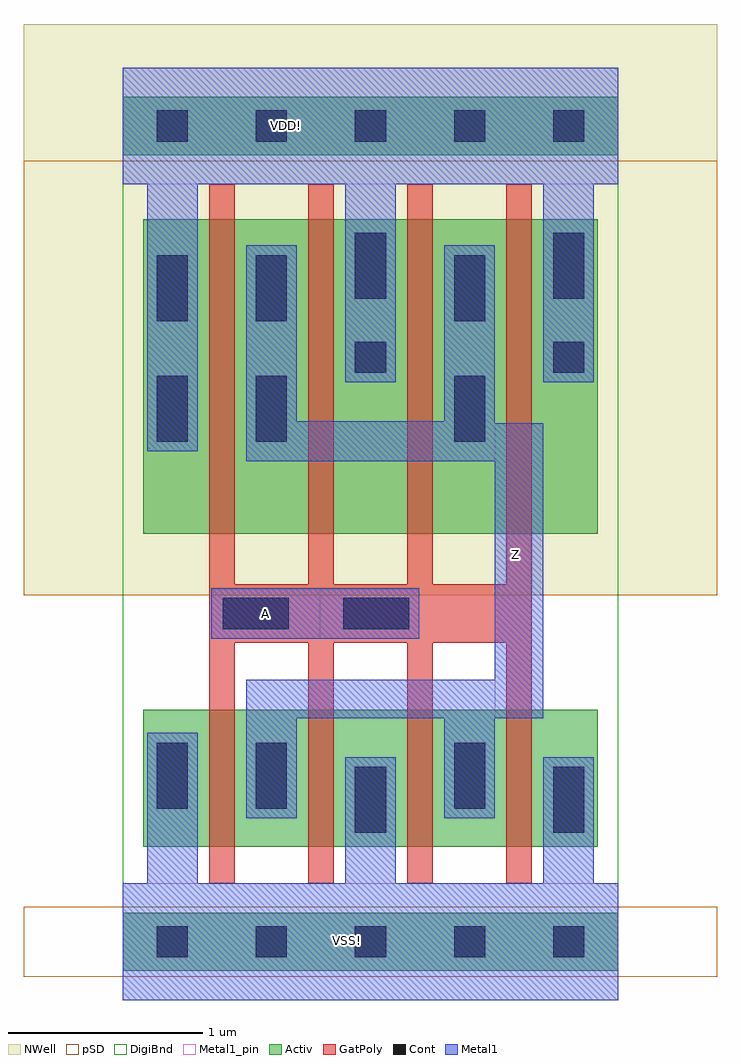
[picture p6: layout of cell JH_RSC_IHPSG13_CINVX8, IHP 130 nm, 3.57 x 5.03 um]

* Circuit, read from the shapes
.subckt JH_RSC_IHPSG13_CINVX8 A VDD! VSS! Z
XM1 Z A VSS! VSS! sg13_lv_nmos w=0.705u l=0.13u m=4
XM2 Z A VDD! VDD! sg13_lv_pmos w=1.62u l=0.13u m=4
.ends

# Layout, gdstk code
import gdstk
lib = gdstk.Library(unit=1e-6, precision=1e-09)
def R(c, l, rs):  # rectangles x0, y0, x1, y1
    for r in rs: c.add(gdstk.rectangle(r[:2], r[2:], *l))
def A(c, l, x, y, w, h, nx, ny, dx, dy):  # array of equal rectangles
    R(c, l, [(x+i*dx, y+j*dy, x+i*dx+w, y+j*dy+h) for i in range(nx) for j in range(ny)])
def P(c, l, *ps):  # polygons
    for p in ps: c.add(gdstk.Polygon(p, *l))
Activ = (1, 0)
GatPoly = (5, 0)
Cont = (6, 0)
Metal1 = (8, 0)
Metal1_pin = (8, 2)
pSD = (14, 0)
DigiBnd = (16, 0)
NWell = (31, 0)

jh_rsc_ihpsg13_cinvx8 = lib.new_cell('JH_RSC_IHPSG13_CINVX8')
R(jh_rsc_ihpsg13_cinvx8, Activ, [(0,-0.15,2.55,0.15), (0.105,0.49,2.445,1.195), (0.105,2.1,2.445,3.72), (0,4.05,2.55,4.35)])
P(jh_rsc_ihpsg13_cinvx8, GatPoly, [(0.445,0.3),(0.445,3.9),(0.575,3.9),(0.575,1.84),(0.955,1.84),(0.955,3.9),(1.085,3.9),(1.085,1.84),(1.465,1.84),(1.465,3.9),(1.595,3.9),(1.595,1.84),(1.975,1.84),(1.975,3.9),(2.105,3.9),(2.105,0.3),(1.975,0.3),(1.975,1.54),(1.595,1.54),(1.595,0.3),(1.465,0.3),(1.465,1.54),(1.085,1.54),(1.085,0.3),(0.955,0.3),(0.955,1.54),(0.575,1.54),(0.575,0.3)])
A(jh_rsc_ihpsg13_cinvx8, Cont, 0.175, -0.08, 0.16, 0.16, 5, 2, 0.51, 4.2)
R(jh_rsc_ihpsg13_cinvx8, Cont, [(1.195,0.56,1.355,0.9), (2.215,0.56,2.375,0.9), (0.175,0.685,0.335,1.025), (0.685,0.685,0.845,1.025), (1.705,0.685,1.865,1.025), (0.515,1.61,0.855,1.77), (1.135,1.61,1.475,1.77), (0.175,2.575,0.335,2.915), (0.685,2.575,0.845,2.915), (1.705,2.575,1.865,2.915), (1.195,2.93,1.355,3.09), (2.215,2.93,2.375,3.09), (0.175,3.195,0.335,3.535), (0.685,3.195,0.845,3.535), (1.705,3.195,1.865,3.535), (1.195,3.31,1.355,3.65), (2.215,3.31,2.375,3.65)])
R(jh_rsc_ihpsg13_cinvx8, Metal1, [(0.455,1.56,1.525,1.82)])
P(jh_rsc_ihpsg13_cinvx8, Metal1, [(0.635,0.635),(0.635,1.35),(1.915,1.35),(1.915,2.475),(0.635,2.475),(0.635,3.585),(0.895,3.585),(0.895,2.68),(1.655,2.68),(1.655,3.585),(1.915,3.585),(1.915,2.67),(2.165,2.67),(2.165,1.15),(1.915,1.15),(1.915,0.635),(1.655,0.635),(1.655,1.15),(0.895,1.15),(0.895,0.635)],
  [(0.125,2.525),(0.125,3.9),(0,3.9),(0,4.5),(2.55,4.5),(2.55,3.9),(2.425,3.9),(2.425,2.88),(2.165,2.88),(2.165,3.9),(1.405,3.9),(1.405,2.88),(1.145,2.88),(1.145,3.9),(0.385,3.9),(0.385,2.525)],
  [(0,-0.3),(0,0.3),(0.125,0.3),(0.125,1.075),(0.385,1.075),(0.385,0.3),(1.145,0.3),(1.145,0.95),(1.405,0.95),(1.405,0.3),(2.165,0.3),(2.165,0.95),(2.425,0.95),(2.425,0.3),(2.55,0.3),(2.55,-0.3)])
R(jh_rsc_ihpsg13_cinvx8, Metal1_pin, [(0,-0.3,2.55,0.3), (1.915,1.15,2.165,2.67), (0.455,1.56,1.015,1.82), (0,3.9,2.55,4.5)])
R(jh_rsc_ihpsg13_cinvx8, pSD, [(-0.51,-0.18,3.06,0.18), (-0.51,1.785,3.06,4.02)])
R(jh_rsc_ihpsg13_cinvx8, DigiBnd, [(0,-0.3,2.55,4.5)])
R(jh_rsc_ihpsg13_cinvx8, NWell, [(-0.51,1.785,3.06,4.725)])
jh_rsc_ihpsg13_cinvx8.add(gdstk.Label('VSS!', (1.155,0.005), layer=8, texttype=2))
jh_rsc_ihpsg13_cinvx8.add(gdstk.Label('VDD!', (0.84,4.2), layer=8, texttype=2))
jh_rsc_ihpsg13_cinvx8.add(gdstk.Label('A', (0.735,1.69), layer=8, texttype=2))
jh_rsc_ihpsg13_cinvx8.add(gdstk.Label('Z', (2.02,1.995), layer=8, texttype=2))

lib.write_gds('JH_RSC_IHPSG13_CINVX8.gds')
